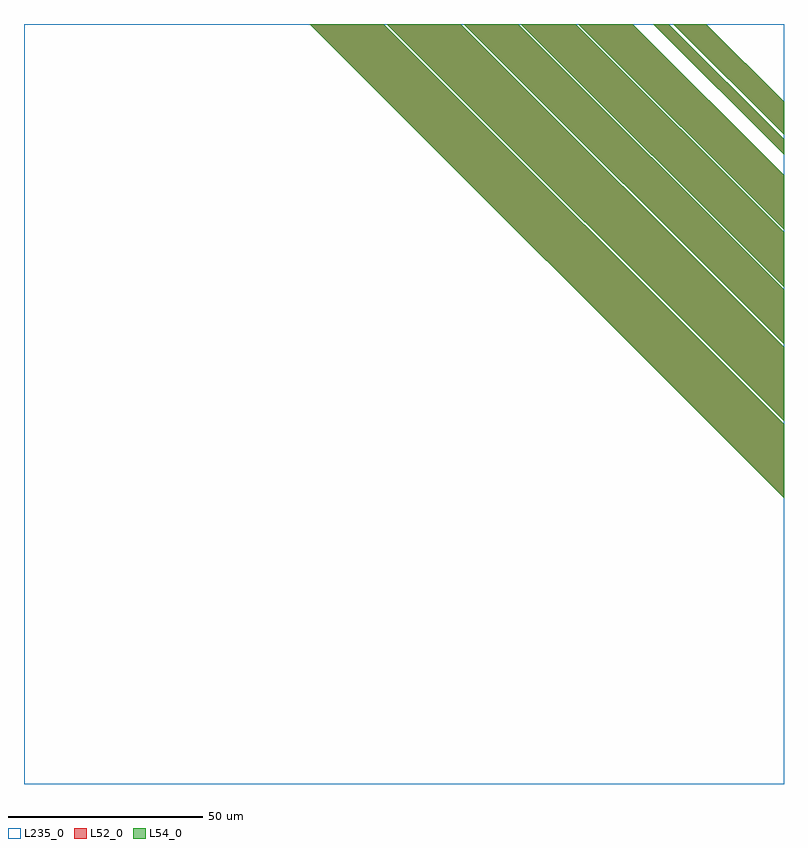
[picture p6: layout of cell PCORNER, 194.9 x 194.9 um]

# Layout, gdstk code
import gdstk
lib = gdstk.Library(unit=1e-6, precision=1e-09)
def R(c, l, rs):  # rectangles x0, y0, x1, y1
    for r in rs: c.add(gdstk.rectangle(r[:2], r[2:], *l))
def P(c, l, *ps):  # polygons
    for p in ps: c.add(gdstk.Polygon(p, *l))
L52_0 = (52, 0)
L54_0 = (54, 0)
L235_0 = (235, 0)

pcorner = lib.new_cell('PCORNER')
P(pcorner, L52_0, [(73.3,194.9),(92.3,194.9),(194.9,92.3),(194.9,73.3)],
  [(92.99,194.9),(111.99,194.9),(194.9,111.99),(194.9,92.99)],
  [(112.79,194.9),(126.79,194.9),(194.9,126.79),(194.9,112.79)],
  [(127.44,194.9),(141.44,194.9),(194.9,141.44),(194.9,127.44)],
  [(142.08,194.9),(156.08,194.9),(194.9,156.08),(194.9,142.08)],
  [(161.39,194.9),(165.39,194.9),(194.9,165.39),(194.9,161.39)],
  [(166.47,194.9),(174.97,194.9),(194.9,174.97),(194.9,166.47)])
P(pcorner, L54_0, [(73.3,194.9),(92.3,194.9),(194.9,92.3),(194.9,73.3)],
  [(92.99,194.9),(111.99,194.9),(194.9,111.99),(194.9,92.99)],
  [(112.79,194.9),(126.79,194.9),(194.9,126.79),(194.9,112.79)],
  [(127.44,194.9),(141.44,194.9),(194.9,141.44),(194.9,127.44)],
  [(142.08,194.9),(156.08,194.9),(194.9,156.08),(194.9,142.08)],
  [(161.39,194.9),(165.39,194.9),(194.9,165.39),(194.9,161.39)],
  [(166.47,194.9),(174.97,194.9),(194.9,174.97),(194.9,166.47)])
R(pcorner, L235_0, [(0,0,194.9,194.9)])

lib.write_gds('PCORNER.gds')
